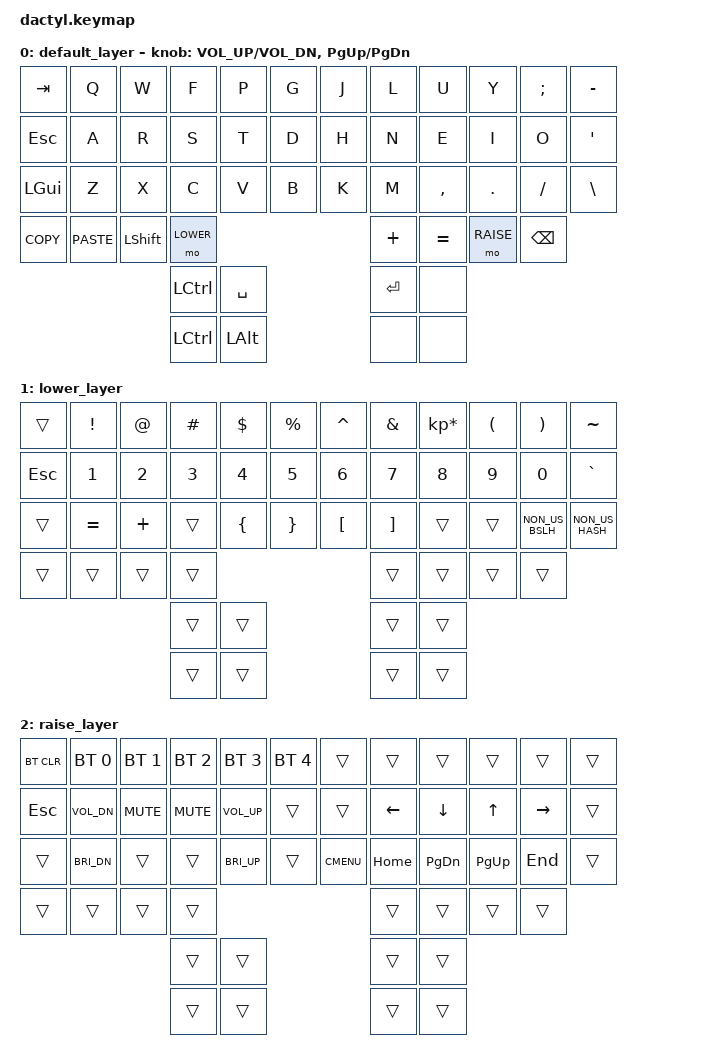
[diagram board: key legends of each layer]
/*
 * Copyright (c) 2020 The ZMK Contributors
 *
 * SPDX-License-Identifier: MIT
 */

#include <behaviors.dtsi>
#include <dt-bindings/zmk/keys.h>
#include <dt-bindings/zmk/bt.h>

#define DEFAULT 0
#define RAISE   1
#define LOWER   2


/ {
        keymap {
                compatible = "zmk,keymap";

                default_layer {
// -----------------------------------------------------------------------------------------
// |  TAB |  Q  |  W  |  F  |  P  |  G  |   |  J  |  L   |  U  |  Y  |  ;  |  -   |
// | ESC  |  A  |  R  |  S  |  T  |  D  |   |  H  |  N   |  E  |  I  |  O  |  '   |
// | LGUI |  Z  |  X  |  C  |  V  |  B  |   |  K  |  M   |  ,  |  .  |  /  | ESC  |
//              | COPY|PASTE|                            |  +  |  =  |
//                    | GUI | LWR | SPC |   | ENT | RSE  | BKSP|
//                    | GUI | LWR | SPC |   | ENT | RSE  | ALT |

                        bindings = <
   &kp TAB  &kp Q &kp W &kp F &kp P &kp G          &kp J &kp L  &kp U     &kp Y   &kp SEMI &kp MINUS
   &kp ESC  &kp A &kp R &kp S &kp T &kp D          &kp H &kp N  &kp E     &kp I   &kp O    &kp SQT
   &kp LGUI &kp Z &kp X &kp C &kp V &kp B          &kp K &kp M  &kp COMMA &kp DOT &kp FSLH &kp BSLH
   &kp K_COPY &kp K_PASTE &kp LSHFT &mo LOWER      &kp PLUS &kp EQUAL &mo RAISE   &kp BSPC
                      &kp LCTRL &kp SPACE              &kp RET     &none
                      &kp LCTRL &kp LALT               &none       &none
                        >;
                        sensor-bindings = <&inc_dec_kp C_VOL_UP C_VOL_DN &inc_dec_kp PG_UP PG_DN>;
                };


                lower_layer {
// -----------------------------------------------------------------------------------------
// |  TAB |  !  |  @  |  #  |  $  |  %  |   |  ^  |  &  |  *  |  (  |  )  | BKSP |
// |  TAB |  1  |  2  |  3  |  4  |  5  |   |  6  |  7  |  8  |  9  |  0  | BKSP |
// | BTCLR| BT1 | BT2 | BT3 | BT4 | BT5 |   | LFT | DWN |  UP | RGT |     |      |
//                    | GUI |     | SPC |   | ENT |     | ALT |

                        bindings = <
   &trans    &kp EXCL   &kp AT   &kp HASH &kp DLLR  &kp PRCNT            &kp CARET &kp AMPS &kp KP_MULTIPLY &kp LPAR &kp RPAR        &kp TILDE
   &kp ESC   &kp N1     &kp N2   &kp N3   &kp N4    &kp N5               &kp N6    &kp N7   &kp N8          &kp N9   &kp N0          &kp GRAVE
   &trans    &kp EQUAL  &kp PLUS &trans   &kp LBRC  &kp RBRC             &kp LBKT  &kp RBKT &trans          &trans   &kp NON_US_BSLH &kp NON_US_HASH
                                                  &trans &trans &trans &trans
                                                  &trans &trans &trans &trans
                                                  &trans &trans &trans &trans
                                                  &trans &trans &trans &trans
                        >;
                };

                raise_layer {
// -----------------------------------------------------------------------------------------
// |  TAB |  !  |  @  |  #  |  $  |  %  |   |  ^  |  &  |  *  |  (  |  )  | BKSP |
// | CTRL |     |     |     |     |     |   |  -  |  =  |  [  |  ]  |  \  |  `   |
// | SHFT |     |     |     |     |     |   |  _  |  +  |  {  |  }  | "|" |  ~   |
//                    | GUI |     | SPC |   | ENT |     | ALT |
                                  bindings = <
     &bt BT_CLR &bt BT_SEL 0    &bt BT_SEL 1 &bt BT_SEL 2 &bt BT_SEL 3      &bt BT_SEL 4           &trans      &trans    &trans    &trans    &trans    &trans
     &kp ESC    &kp C_VOL_DN    &kp K_MUTE   &kp K_MUTE   &kp C_VOL_UP      &trans                 &trans      &kp LEFT  &kp DOWN  &kp UP    &kp RIGHT &trans
     &trans     &kp C_BRI_DN    &trans       &trans       &kp C_BRI_UP      &trans                 &kp K_CMENU &kp HOME  &kp PG_DN &kp PG_UP &kp END   &trans
                                                 &trans &trans &trans &trans
                                                  &trans &trans &trans &trans
                                                  &trans &trans &trans &trans
                                                  &trans &trans &trans &trans
                        >;
                };
        };
};
